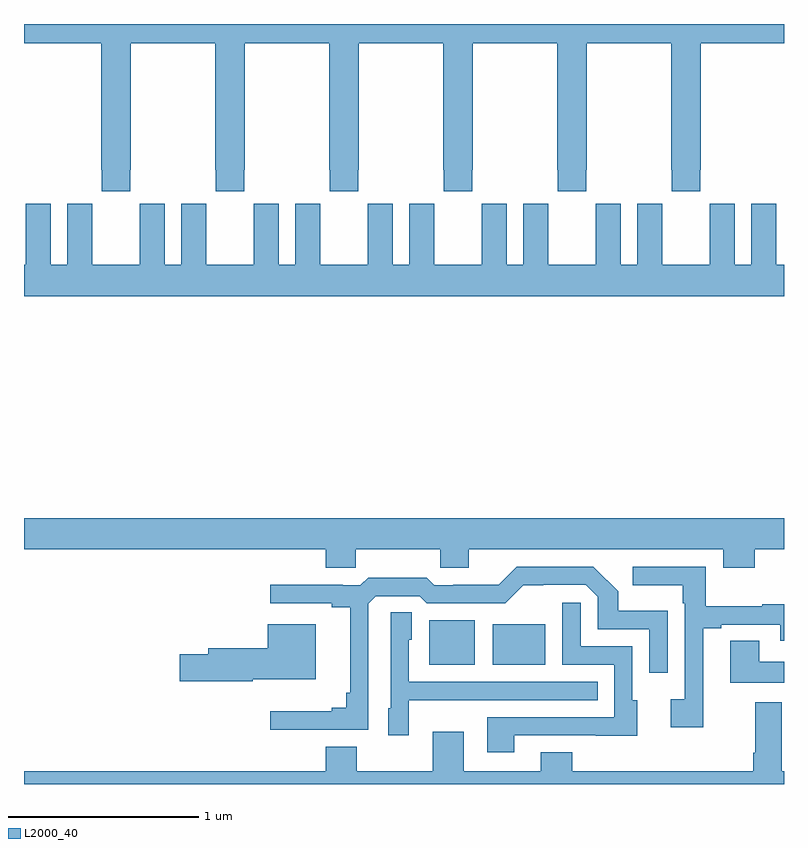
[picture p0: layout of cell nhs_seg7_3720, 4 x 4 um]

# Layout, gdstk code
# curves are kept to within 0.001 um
import gdstk
lib = gdstk.Library(unit=1e-6, precision=1e-09)
def R(c, l, rs):  # rectangles x0, y0, x1, y1
    for r in rs: c.add(gdstk.rectangle(r[:2], r[2:], *l))
def P(c, l, *ps):  # polygons
    for p in ps: c.add(gdstk.Polygon(p, *l))
L2000_40 = (2000, 40)

nhs_seg7_3720 = lib.new_cell('nhs_seg7_3720')
R(nhs_seg7_3720, L2000_40, [(349.133,1046.627,349.372,1046.863), (349.466,1046.627,349.744,1046.842)])
P(nhs_seg7_3720, L2000_40, [(347.559,1049.233),(347.562,1049.233),(347.562,1049.9),(348.007,1049.9),(348.007,1049.233),(348.009,1049.233),(348.009,1049.121),(348.159,1049.121),(348.159,1049.233),(348.162,1049.233),(348.162,1049.9),(348.607,1049.9),(348.607,1049.233),(348.609,1049.233),(348.609,1049.121),(348.759,1049.121),(348.759,1049.233),(348.762,1049.233),(348.762,1049.9),(349.207,1049.9),(349.207,1049.233),(349.209,1049.233),(349.209,1049.121),(349.359,1049.121),(349.359,1049.233),(349.362,1049.233),(349.362,1049.9),(349.807,1049.9),(349.807,1049.233),(349.809,1049.233),(349.809,1049.121),(349.959,1049.121),(349.959,1049.233),(349.962,1049.233),(349.962,1049.9),(350.407,1049.9),(350.407,1049.233),(350.409,1049.233),(350.409,1049.121),(350.559,1049.121),(350.559,1049.233),(350.562,1049.233),(350.562,1049.9),(351,1049.9),(351,1050),(347,1050),(347,1049.9),(347.407,1049.9),(347.407,1049.233),(347.409,1049.233),(347.409,1049.121),(347.559,1049.121)],
  [(351,1048.732),(350.959,1048.732),(350.959,1048.94),(350.958,1048.94),(350.958,1049.053),(350.828,1049.053),(350.828,1048.732),(350.74,1048.732),(350.74,1049.053),(350.61,1049.053),(350.61,1048.94),(350.609,1048.94),(350.609,1048.732),(350.359,1048.732),(350.359,1048.94),(350.358,1048.94),(350.358,1049.053),(350.228,1049.053),(350.228,1048.732),(350.14,1048.732),(350.14,1049.053),(350.01,1049.053),(350.01,1048.94),(350.009,1048.94),(350.009,1048.732),(349.759,1048.732),(349.759,1048.94),(349.758,1048.94),(349.758,1049.053),(349.628,1049.053),(349.628,1048.732),(349.54,1048.732),(349.54,1049.053),(349.41,1049.053),(349.41,1048.94),(349.409,1048.94),(349.409,1048.732),(349.159,1048.732),(349.159,1048.94),(349.158,1048.94),(349.158,1049.053),(349.028,1049.053),(349.028,1048.732),(348.94,1048.732),(348.94,1049.053),(348.81,1049.053),(348.81,1048.94),(348.809,1048.94),(348.809,1048.732),(348.559,1048.732),(348.559,1048.94),(348.558,1048.94),(348.558,1049.053),(348.428,1049.053),(348.428,1048.732),(348.34,1048.732),(348.34,1049.053),(348.21,1049.053),(348.21,1048.94),(348.209,1048.94),(348.209,1048.732),(347.959,1048.732),(347.959,1048.94),(347.958,1048.94),(347.958,1049.053),(347.828,1049.053),(347.828,1048.732),(347.74,1048.732),(347.74,1049.053),(347.61,1049.053),(347.61,1048.94),(347.609,1048.94),(347.609,1048.732),(347.359,1048.732),(347.359,1048.94),(347.358,1048.94),(347.358,1049.053),(347.228,1049.053),(347.228,1048.732),(347.14,1048.732),(347.14,1049.053),(347.01,1049.053),(347.01,1048.94),(347.009,1048.94),(347.009,1048.732),(347,1048.732),(347,1048.568),(351,1048.568)],
  [(350.845,1047.236),(351,1047.236),(351,1047.4),(347,1047.4),(347,1047.236),(348.587,1047.236),(348.587,1047.138),(348.747,1047.138),(348.747,1047.236),(349.192,1047.236),(349.192,1047.138),(349.342,1047.138),(349.342,1047.236),(350.681,1047.236),(350.681,1047.137),(350.845,1047.137)],
  [(350.575,1046.82),(350.671,1046.82),(350.671,1046.838),(350.981,1046.838),(350.981,1046.754),(351,1046.754),(351,1046.947),(350.885,1046.947),(350.885,1046.936),(350.587,1046.936),(350.587,1047.144),(350.205,1047.144),(350.205,1047.047),(350.466,1047.047),(350.466,1046.951),(350.478,1046.951),(350.478,1046.446),(350.403,1046.446),(350.403,1046.298),(350.575,1046.298)],
  [(348.813,1046.949),(348.852,1046.988),(349.083,1046.988),(349.119,1046.952),(349.533,1046.952),(349.628,1047.047),(349.956,1047.048),(350.019,1046.985),(350.019,1046.814),(350.292,1046.814),(350.292,1046.586),(350.388,1046.586),(350.388,1046.911),(350.127,1046.911),(350.127,1047.014),(349.996,1047.144),(349.593,1047.144),(349.499,1047.05),(349.258,1047.05),(349.258,1047.045),(349.158,1047.045),(349.119,1047.085),(348.811,1047.085),(348.771,1047.045),(348.677,1047.045),(348.677,1047.05),(348.297,1047.05),(348.297,1046.952),(348.62,1046.952),(348.62,1046.93),(348.716,1046.93),(348.716,1046.479),(348.697,1046.479),(348.697,1046.402),(348.62,1046.402),(348.62,1046.383),(348.297,1046.383),(348.297,1046.286),(348.813,1046.286)],
  [(349.579,1046.256),(350.009,1046.256),(350.009,1046.255),(350.227,1046.255),(350.227,1046.442),(350.202,1046.442),(350.202,1046.724),(349.929,1046.724),(349.929,1046.953),(349.833,1046.953),(349.833,1046.628),(350.106,1046.628),(350.106,1046.352),(349.439,1046.352),(349.439,1046.166),(349.579,1046.166)],
  [(349.026,1046.441),(349.343,1046.441),(349.343,1046.442),(350.021,1046.442),(350.021,1046.538),(349.026,1046.538),(349.026,1046.76),(349.042,1046.76),(349.042,1046.903),(348.93,1046.903),(348.93,1046.4),(348.917,1046.4),(348.917,1046.256),(349.026,1046.256)],
  [(348.204,1046.552),(348.535,1046.552),(348.535,1046.842),(348.284,1046.842),(348.284,1046.714),(347.969,1046.714),(347.969,1046.684),(347.82,1046.684),(347.82,1046.542),(348.204,1046.542)],
  [(351,1046.644),(350.869,1046.644),(350.869,1046.753),(350.717,1046.753),(350.717,1046.534),(351,1046.534)],
  [(351,1046.068),(350.989,1046.068),(350.989,1046.43),(350.849,1046.43),(350.849,1046.164),(350.837,1046.164),(350.837,1046.068),(349.885,1046.068),(349.885,1046.167),(349.721,1046.167),(349.721,1046.068),(349.315,1046.068),(349.315,1046.275),(349.151,1046.275),(349.151,1046.068),(348.751,1046.068),(348.751,1046.197),(348.587,1046.197),(348.587,1046.068),(347,1046.068),(347,1046),(351,1046)])

lib.write_gds('nhs_seg7_3720.gds')
